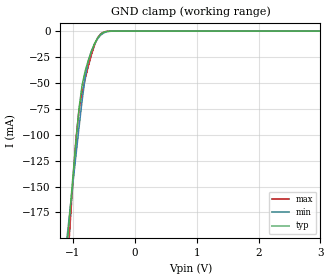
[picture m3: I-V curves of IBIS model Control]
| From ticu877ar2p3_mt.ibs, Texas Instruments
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[Model]   Control
Model_type   Input
|Signals   OS, OE
Vinh = 1.105V
Vinl = 0.665V
|SiSoft include $SSTL_18/sstl_18.inc
|   typ   min   max
C_comp   1.13pF   NA   NA
|   typ   min   max
[Temperature Range]   40   105   0
[Voltage range]   1.8   1.7   1.9
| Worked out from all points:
|   GND clamp passes 1 mA (typ) near -0.50 V on its own axis
[Power Clamp]
|   Voltage   I(typ)   I(min)   I(max)
-1.9V     0A         0A         0A
0V        0A         0A         0A
3.8V      0A         0A         0A
[GND Clamp]
|   Voltage   I(typ)   I(min)   I(max)
-1.9V     -784.2mA   -642.1mA   -981.4mA
-1.1V     -212.8mA   -202.5mA   -238.6mA
-1.05V    -177.1mA   -175.1mA   -192.3mA
-950mV    -106.5mA   -120.2mA   -104.7mA
-900mV    -74.68mA   -93.04mA   -76.27mA
-850mV    -52.07mA   -66.94mA   -59.64mA
-800mV    -38.45mA   -44.46mA   -46.28mA
-750mV    -28.28mA   -28.92mA   -34.05mA
-700mV    -19.55mA   -19.28mA   -22.99mA
-600mV    -6.54mA    -7.452mA   -6.745mA
-500mV    -1.069mA   -1.715mA   -861.5uA
3.8V      0A         0A         0A
